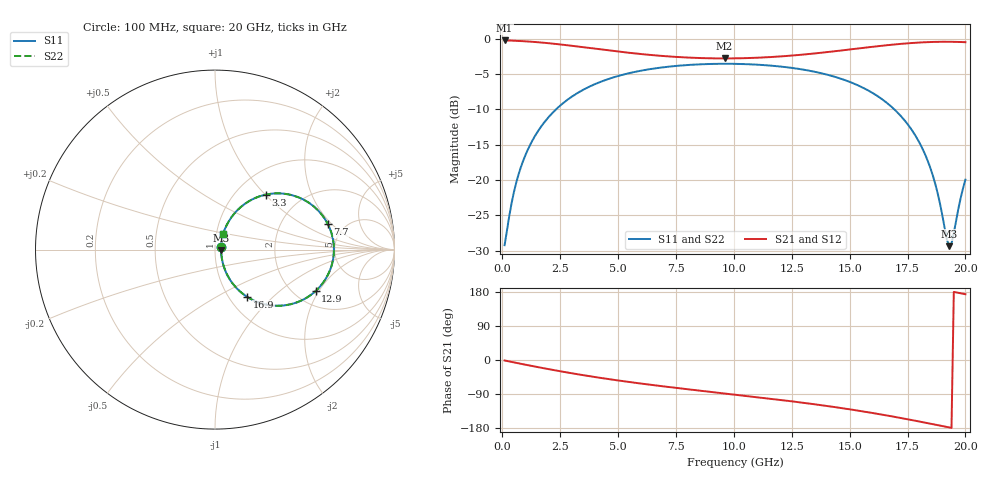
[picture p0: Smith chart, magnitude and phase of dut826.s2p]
! Touchstone file exported from HFSS 2026.1.0
!  File:  C:/ffzhzh/LocalFiles/Ansys_Project_Files/temp_train_TSV_RDL_826_1783266262_39728.aedt
!  Generated:  11:53:11 PM Jul  5, 2026
!  Design:  TSV_RDL
!  Project:  temp_train_TSV_RDL_826_1783266262_39728
! Variables:
!  h_bsmrdl = 2.44um
!  h_ox = 20um
!  h_rdl = 5um
!  h_sub = 59.96um
!  h_tmrdl = 3.23um
!  h_tsv = 59.96um
!  h_via = 3um
!  l_bsmrdl = 441.23um
!  l_sub = 3160.52um
!  l_tmrdl = 341.86um
!  m_sub = 200um
!  pitch = 46.79um
!  r_tsv = 8.26um
!  s_tmrdl = 10um
!  w_bsmrdl = 10.14um
!  w_sub = 500um
!  w_tmrdl = 12.99um
!  x_tsv_center1 = 348.355um
!  x_tsv_center2 = 799.725um
!  x_tsv_center3 = 1154.575um
!  x_tsv_center4 = 1605.945um
!  x_tsv_center5 = 1960.795um
!  x_tsv_center6 = 2412.165um
# GHz S MA R 50.000000
! Terminal data exported
! Port[1] = TM_RDL1_1_T1
! Port[2] = TM_RDL5_1_T1
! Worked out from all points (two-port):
!   200 points, 100 MHz to 20 GHz, reference 50 ohm
!   highest |S21| = -0.27 dB at 100 MHz (marker M1); lowest = -2.8 dB at 9.6 GHz (marker M2)
!   |S21| within 3 dB of the highest: start of sweep to end of sweep
!   lowest |S11| = -29.4 dB at 19.3 GHz (marker M3), VSWR 1.07, Z = 53.5 - j0.303 ohm
!   |S11| at or under -10 dB: start of sweep to 2.328 GHz; 16.92 GHz to end of sweep
!   |S22| runs from -29.3 to -3.6 dB; largest |S21 - S12| = 3.5e-14
!   S11 on the Smith chart (normalised r, x): 100 MHz: 1.06, +0.03; 3.3 GHz: 1.36, +1.01; 7.7 GHz: 3.67, +1.81; 12.9 GHz: 2.56, -1.87; 16.9 GHz: 1.21, -0.71; 20 GHz: 1.08, +0.19
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0.1  0.03452 25.0  0.9689 -1.3  0.9689 -1.3  0.03452 25.0
! Gamma 0 0 0 0
! Port Impedance 50 0 50 0
0.6  0.09535 62.4  0.9633 -7.6  0.9633 -7.6  0.09535 62.4
1.2  0.1766 64.0  0.9506 -14.8  0.9506 -14.8  0.1766 64.0
2.1  0.2899 57.9  0.923 -25.3  0.923 -25.3  0.2899 57.9
3.3  0.4163 47.3  0.8762 -38.1  0.8762 -38.1  0.4163 47.3
3.5  0.4343 45.6  0.868 -40.1  0.868 -40.1  0.4343 45.6
5  0.543 32.8  0.809 -54.0  0.809 -54.0  0.543 32.9
6.8  0.6214 19.2  0.7553 -68.4  0.7553 -68.4  0.6214 19.2
7.7  0.644 12.9  0.7378 -75.0  0.7378 -75.0  0.644 12.9
9.6  0.6627 0.2  0.7231 -88.3  0.7231 -88.3  0.6627 0.3
10.1  0.6616 -3.1  0.7241 -91.7  0.7241 -91.7  0.6616 -3.0
12.9  0.6062 -22.4  0.7674 -112.1  0.7674 -112.1  0.6062 -22.4
13.4  0.586 -26.2  0.7814 -116.1  0.7814 -116.1  0.586 -26.1
15.2  0.4788 -40.8  0.8437 -132.0  0.8437 -132.0  0.4788 -40.8
16.7  0.3408 -54.0  0.8998 -147.4  0.8998 -147.4  0.3408 -54.0
16.9  0.3188 -55.8  0.9066 -149.6  0.9066 -149.6  0.3188 -55.7
17.7  0.2236 -62.0  0.9299 -158.7  0.9299 -158.7  0.2236 -62.0
18.3  0.1461 -64.3  0.9419 -165.8  0.9419 -165.8  0.1461 -64.2
18.7  0.09353 -61.1  0.9467 -170.6  0.9467 -170.6  0.09356 -61.1
19.3  0.03397 -4.8  0.9483 -177.9  0.9483 -177.9  0.0341 -4.7
19.4  0.03553 17.2  0.948 -179.1  0.948 -179.1  0.03567 17.2
20  0.1004 62.6  0.9419 173.6  0.9419 173.6  0.1004 62.5
